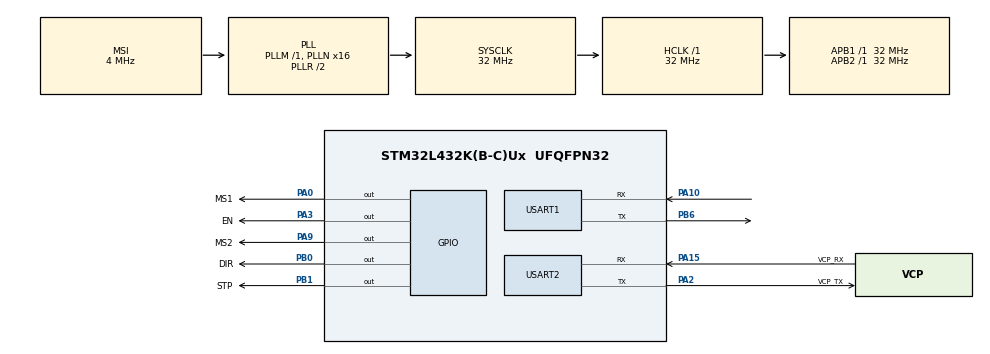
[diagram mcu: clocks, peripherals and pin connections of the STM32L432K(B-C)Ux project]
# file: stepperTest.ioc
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Mcu.Family=STM32L4
Mcu.Name=STM32L432K(B-C)Ux
Mcu.Package=UFQFPN32
NVIC.PriorityGroup=NVIC_PRIORITYGROUP_4
NVIC.TIM6_DAC_IRQn=true\:1\:0\:true\:false\:true\:true\:true\:true
NVIC.USART1_IRQn=true\:0\:0\:false\:false\:true\:true\:true\:true
NVIC.USART2_IRQn=true\:0\:0\:false\:false\:true\:true\:true\:true
PA0.GPIO_Label=MS1
PA0.Signal=GPIO_Output
PA10.Mode=Asynchronous
PA10.Signal=USART1_RX
PA13\ (JTMS-SWDIO).GPIO_Label=SWDIO
PA13\ (JTMS-SWDIO).Mode=Serial_Wire
PA13\ (JTMS-SWDIO).Signal=SYS_JTMS-SWDIO
PA14\ (JTCK-SWCLK).GPIO_Label=SWCLK
PA14\ (JTCK-SWCLK).Mode=Serial_Wire
PA14\ (JTCK-SWCLK).Signal=SYS_JTCK-SWCLK
PA15\ (JTDI).GPIO_Label=VCP_RX
PA15\ (JTDI).Mode=Asynchronous
PA15\ (JTDI).Signal=USART2_RX
PA2.GPIO_Label=VCP_TX
PA2.Mode=Asynchronous
PA2.Signal=USART2_TX
PA3.GPIO_Label=EN
PA3.Signal=GPIO_Output
PA9.GPIO_Label=MS2
PA9.Signal=GPIO_Output
PB0.GPIO_Label=DIR
PB0.Signal=GPIO_Output
PB1.GPIO_Label=STP
PB1.Signal=GPIO_Output
PB6.Mode=Asynchronous
PB6.Signal=USART1_TX
PC14-OSC32_IN\ (PC14).Signal=RCC_OSC32_IN
ProjectManager.HeapSize=0x200
ProjectManager.StackSize=0x400
ProjectManager.TargetToolchain=STM32CubeIDE
RCC.AHBFreq_Value=32000000
RCC.APB1Freq_Value=32000000
RCC.APB1TimFreq_Value=32000000
RCC.APB2Freq_Value=32000000
RCC.APB2TimFreq_Value=32000000
RCC.CortexFreq_Value=32000000
RCC.HCLKFreq_Value=32000000
RCC.HSE_VALUE=8000000
RCC.HSI16_VALUE=16000000
RCC.HSI48_VALUE=48000000
RCC.HSI_VALUE=16000000
RCC.LSE_VALUE=32768
RCC.MSI_VALUE=4000000
RCC.PLLMUL=RCC_PLLMUL_4
RCC.PLLN=16
RCC.SYSCLKFreq_VALUE=32000000
RCC.SYSCLKSource=RCC_SYSCLKSOURCE_PLLCLK
RCC.VCOOutputFreq_Value=64000000
TIM6.AutoReloadPreload=TIM_AUTORELOAD_PRELOAD_ENABLE
TIM6.Period=1
TIM6.Prescaler=32000
USART1.VirtualMode-Asynchronous=VM_ASYNC
USART2.VirtualMode-Asynchronous=VM_ASYNC
VP_TIM6_VS_ClockSourceINT.Mode=Enable_Timer
board=NUCLEO-L432KC

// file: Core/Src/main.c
/* USER CODE BEGIN Header */
/**
  ******************************************************************************
  * @file           : main.c
  * @brief          : Main program body
  ******************************************************************************
  * @attention
  *
  * Copyright (c) 2022 STMicroelectronics.
  * All rights reserved.
  *
  * This software is licensed under terms that can be found in the LICENSE file
  * in the root directory of this software component.
  * If no LICENSE file comes with this software, it is provided AS-IS.
  *
  ******************************************************************************
  */
/* USER CODE END Header */
#include "main.h"

/* USER CODE BEGIN Includes */
#include <stdbool.h>
#include <math.h>
/* USER CODE END Includes */

/* USER CODE BEGIN PD */
#define WIGGLEANGLE 500
#define BUFFERSIZE 8
#define FULLROTATION 4096
/* USER CODE END PD */

TIM_HandleTypeDef htim6;

UART_HandleTypeDef huart1;
UART_HandleTypeDef huart2;

/* USER CODE BEGIN PV */
uint32_t stepCount = 0;
uint32_t startsteps = 0;
uint16_t position = 0;
uint32_t setpos = 0;
uint32_t offset = 0;
uint32_t potipos = 0;
uint32_t charCounter = 0;
uint32_t timersteps = 0;
_Bool direction = false;
_Bool wiggleFlag = false;
_Bool startFlag = true;
_Bool setTimeFlag = false;
_Bool switchstate = false;
_Bool rxDone = false;
_Bool buttonPressed = false;
_Bool transmitDone = false;
_Bool doneOnce = false;
static _Bool receiveFlag = false;
int datapointer = 0;
/* USER CODE END PV */

void SystemClock_Config(void);
static void MX_GPIO_Init(void);
static void MX_USART2_UART_Init(void);
static void MX_TIM6_Init(void);
static void MX_USART1_UART_Init(void);

/* USER CODE BEGIN 0 */
uint8_t receiveBuffer[BUFFERSIZE];
char *receiveMsg = "\rAck   \n ";
char *notAcknowledge = "\rNAck   \n";
char *waitForInput = "\rInput: \n";
char dataBuffer[200];

typedef enum{
	  start_state,
	  set_time_state,
	  timer_state,
	  ring_state
}System_state;

System_state system_state = start_state;

void receiveUART(UART_HandleTypeDef uart, uint8_t receiveBuffer[BUFFERSIZE]){
	  HAL_UART_Receive_IT(&huart2, receiveBuffer, BUFFERSIZE);
	  HAL_UART_Receive_IT(&huart1, receiveBuffer, BUFFERSIZE);
	  	  for (;rxDone == false;){
	  		  datapointer = 0;
				if(dataBuffer[datapointer] == '#'){
					datapointer++;
				  if(dataBuffer[datapointer] ==  'p'){
					  datapointer++;
					  for(; dataBuffer[datapointer] != ','; datapointer++);
					  sscanf(dataBuffer+1+datapointer, "%d\n", &potipos);
					  buttonPressed = true;
					  rxDone = true;
					  }

				}
	  	  }

	  	  for(datapointer = 0; dataBuffer[datapointer] != 0; datapointer++){
	  		  dataBuffer[datapointer] = 0;
	  	  }
}
/* USER CODE END 0 */

int main(void)
{
  /* USER CODE BEGIN 1 */
	char uart_buf[50];
	int uart_buf_len = 0;

  /* USER CODE END 1 */

  /* MCU Configuration--------------------------------------------------------*/

  /* Reset of all peripherals, Initializes the Flash interface and the Systick. */
  HAL_Init();

  /* Configure the system clock */
  SystemClock_Config();

  /* Initialize all configured peripherals */
  MX_GPIO_Init();
  MX_USART2_UART_Init();
  MX_TIM6_Init();
  MX_USART1_UART_Init();
  /* USER CODE BEGIN 2 */
  HAL_GPIO_WritePin(MS1_GPIO_Port, MS1_Pin, GPIO_PIN_RESET);
  HAL_GPIO_WritePin(MS2_GPIO_Port, MS2_Pin, GPIO_PIN_RESET);
  HAL_GPIO_WritePin(DIR_GPIO_Port, DIR_Pin, GPIO_PIN_SET);
  HAL_TIM_Base_Start_IT(&htim6);

  /* USER CODE END 2 */

  /* Infinite loop */
  /* USER CODE BEGIN WHILE */

  while (1)
  {
	  switch(system_state) { //State machine wechselt zwischen den verschiedenen zuständen die das System einnehmen kann

	  	  case set_time_state:{ //State um die Zeit einzustellen
	  		setTimeFlag = true;

	  		if(!receiveFlag){
	  			HAL_UART_Transmit_IT(&huart2, (uint8_t*)waitForInput, BUFFERSIZE);
	  			receiveUART(huart2, receiveBuffer);
	  			receiveFlag = true;
	  		}

	  		if(buttonPressed){
	  			float temp = potipos;
	  			setpos = (int) 4096 * (temp / 100);
	  			HAL_NVIC_EnableIRQ(54);
	  			buttonPressed = false;
	  		}

	  		if(switchstate){ //Motor hat sich zu der gewünschten Position bewegt
	  			system_state = timer_state;
	  			receiveFlag = false;
	  			switchstate = false;
	  			doneOnce = false;

	  		}
	  	  }break;

	  	  case timer_state:{ //state während die Zeit abläuft

	  		HAL_GPIO_WritePin(MS1_GPIO_Port, MS1_Pin, GPIO_PIN_SET);
	  		HAL_GPIO_WritePin(MS2_GPIO_Port, MS2_Pin, GPIO_PIN_SET);

	  		if (!doneOnce){ //enabled beim ersten durchlauf wieder den Interrupt, damit sich der Motor bewegt
	  			HAL_NVIC_EnableIRQ(54);
	  			doneOnce = true;
	  		}

			  if(switchstate){ //bereitet die Variablen für den nächsten state vor
				   system_state = ring_state;
				   receiveFlag = false;
				   switchstate = false;
				   rxDone = false;
				   stepCount = 0;

			  }
	  	  }break;

	  	  case ring_state:{ //state während dem klingeln
	  		  wiggleFlag = true;
	  		  HAL_GPIO_WritePin(MS1_GPIO_Port, MS1_Pin, GPIO_PIN_RESET); //wechselt Geschwindigkeit
	  		  HAL_GPIO_WritePin(MS2_GPIO_Port, MS2_Pin, GPIO_PIN_RESET);

	  		  if(!receiveFlag){
	  			  HAL_UART_Transmit_IT(&huart2, (uint8_t*)waitForInput, BUFFERSIZE);
	  			  receiveUART(huart2, receiveBuffer);
	  			  receiveFlag = true;
	  		  }

	  		  if(buttonPressed){//bereitet die Variablen für den nächsten state vor
	  			  system_state = set_time_state;
	  			  receiveFlag = false;
	  			  buttonPressed = false;
	  			  rxDone = false;
	  			  //HAL_NVIC_EnableIRQ(54);
	  		  }
	  	  }break;

	  	  case start_state:{ //start state, zeigt wenn bereit

	  		  startFlag = true;

	  		  if(switchstate){//bereitet die Variablen für den nächsten state vor
	  			  system_state = set_time_state;
	  			  switchstate = false;
	  		  }
	  	  }break;

	  	  default:{
	  		  system_state = start_state;
	  		  break;
	  	  }
	  }
    /* USER CODE END WHILE */

}
}

void SystemClock_Config(void)
{
  RCC_OscInitTypeDef RCC_OscInitStruct = {0};
  RCC_ClkInitTypeDef RCC_ClkInitStruct = {0};

  /** Configure the main internal regulator output voltage
  */
  if (HAL_PWREx_ControlVoltageScaling(PWR_REGULATOR_VOLTAGE_SCALE1) != HAL_OK)
  {
    Error_Handler();
  }

  /** Initializes the RCC Oscillators according to the specified parameters
  * in the RCC_OscInitTypeDef structure.
  */
  RCC_OscInitStruct.OscillatorType = RCC_OSCILLATORTYPE_MSI;
  RCC_OscInitStruct.MSIState = RCC_MSI_ON;
  RCC_OscInitStruct.MSICalibrationValue = 0;
  RCC_OscInitStruct.MSIClockRange = RCC_MSIRANGE_6;
  RCC_OscInitStruct.PLL.PLLState = RCC_PLL_ON;
  RCC_OscInitStruct.PLL.PLLSource = RCC_PLLSOURCE_MSI;
  RCC_OscInitStruct.PLL.PLLM = 1;
  RCC_OscInitStruct.PLL.PLLN = 16;
  RCC_OscInitStruct.PLL.PLLP = RCC_PLLP_DIV7;
  RCC_OscInitStruct.PLL.PLLQ = RCC_PLLQ_DIV2;
  RCC_OscInitStruct.PLL.PLLR = RCC_PLLR_DIV2;
  if (HAL_RCC_OscConfig(&RCC_OscInitStruct) != HAL_OK)
  {
    Error_Handler();
  }

  /** Initializes the CPU, AHB and APB buses clocks
  */
  RCC_ClkInitStruct.ClockType = RCC_CLOCKTYPE_HCLK|RCC_CLOCKTYPE_SYSCLK
                              |RCC_CLOCKTYPE_PCLK1|RCC_CLOCKTYPE_PCLK2;
  RCC_ClkInitStruct.SYSCLKSource = RCC_SYSCLKSOURCE_PLLCLK;
  RCC_ClkInitStruct.AHBCLKDivider = RCC_SYSCLK_DIV1;
  RCC_ClkInitStruct.APB1CLKDivider = RCC_HCLK_DIV1;
  RCC_ClkInitStruct.APB2CLKDivider = RCC_HCLK_DIV1;

  if (HAL_RCC_ClockConfig(&RCC_ClkInitStruct, FLASH_LATENCY_1) != HAL_OK)
  {
    Error_Handler();
  }
}

static void MX_TIM6_Init(void)
{

  TIM_MasterConfigTypeDef sMasterConfig = {0};

  htim6.Instance = TIM6;
  htim6.Init.Prescaler = 32000;
  htim6.Init.CounterMode = TIM_COUNTERMODE_UP;
  htim6.Init.Period = 1;
  htim6.Init.AutoReloadPreload = TIM_AUTORELOAD_PRELOAD_ENABLE;
  if (HAL_TIM_Base_Init(&htim6) != HAL_OK)
  {
    Error_Handler();
  }
  sMasterConfig.MasterOutputTrigger = TIM_TRGO_RESET;
  sMasterConfig.MasterSlaveMode = TIM_MASTERSLAVEMODE_DISABLE;
  if (HAL_TIMEx_MasterConfigSynchronization(&htim6, &sMasterConfig) != HAL_OK)
  {
    Error_Handler();
  }

}

static void MX_USART1_UART_Init(void)
{

  huart1.Instance = USART1;
  huart1.Init.BaudRate = 115200;
  huart1.Init.WordLength = UART_WORDLENGTH_8B;
  huart1.Init.StopBits = UART_STOPBITS_1;
  huart1.Init.Parity = UART_PARITY_NONE;
  huart1.Init.Mode = UART_MODE_TX_RX;
  huart1.Init.HwFlowCtl = UART_HWCONTROL_NONE;
  huart1.Init.OverSampling = UART_OVERSAMPLING_16;
  huart1.Init.OneBitSampling = UART_ONE_BIT_SAMPLE_DISABLE;
  huart1.AdvancedInit.AdvFeatureInit = UART_ADVFEATURE_NO_INIT;
  if (HAL_UART_Init(&huart1) != HAL_OK)
  {
    Error_Handler();
  }

}

static void MX_USART2_UART_Init(void)
{

  huart2.Instance = USART2;
  huart2.Init.BaudRate = 115200;
  huart2.Init.WordLength = UART_WORDLENGTH_8B;
  huart2.Init.StopBits = UART_STOPBITS_1;
  huart2.Init.Parity = UART_PARITY_NONE;
  huart2.Init.Mode = UART_MODE_TX_RX;
  huart2.Init.HwFlowCtl = UART_HWCONTROL_NONE;
  huart2.Init.OverSampling = UART_OVERSAMPLING_16;
  huart2.Init.OneBitSampling = UART_ONE_BIT_SAMPLE_DISABLE;
  huart2.AdvancedInit.AdvFeatureInit = UART_ADVFEATURE_NO_INIT;
  if (HAL_UART_Init(&huart2) != HAL_OK)
  {
    Error_Handler();
  }

}

static void MX_GPIO_Init(void)
{
  GPIO_InitTypeDef GPIO_InitStruct = {0};

  /* GPIO Ports Clock Enable */
  __HAL_RCC_GPIOC_CLK_ENABLE();
  __HAL_RCC_GPIOA_CLK_ENABLE();
  __HAL_RCC_GPIOB_CLK_ENABLE();

  /*Configure GPIO pin Output Level */
  HAL_GPIO_WritePin(GPIOA, MS1_Pin|EN_Pin|MS2_Pin, GPIO_PIN_RESET);

  /*Configure GPIO pin Output Level */
  HAL_GPIO_WritePin(GPIOB, DIR_Pin|STP_Pin, GPIO_PIN_RESET);

  /*Configure GPIO pins : MS1_Pin EN_Pin MS2_Pin */
  GPIO_InitStruct.Pin = MS1_Pin|EN_Pin|MS2_Pin;
  GPIO_InitStruct.Mode = GPIO_MODE_OUTPUT_PP;
  GPIO_InitStruct.Pull = GPIO_NOPULL;
  GPIO_InitStruct.Speed = GPIO_SPEED_FREQ_LOW;
  HAL_GPIO_Init(GPIOA, &GPIO_InitStruct);

  /*Configure GPIO pins : DIR_Pin STP_Pin */
  GPIO_InitStruct.Pin = DIR_Pin|STP_Pin;
  GPIO_InitStruct.Mode = GPIO_MODE_OUTPUT_PP;
  GPIO_InitStruct.Pull = GPIO_NOPULL;
  GPIO_InitStruct.Speed = GPIO_SPEED_FREQ_LOW;
  HAL_GPIO_Init(GPIOB, &GPIO_InitStruct);

}

/* USER CODE BEGIN 4 */
void HAL_TIM_PeriodElapsedCallback(TIM_HandleTypeDef *htim){
	HAL_GPIO_TogglePin(STP_GPIO_Port, STP_Pin);

	switch(system_state){
		case set_time_state:{
			if (position < setpos){ //richtige Richtung einstellen um zur gewünschten Position zu fahren
				HAL_GPIO_WritePin(DIR_GPIO_Port, DIR_Pin, RESET);
				direction = false;
			} else {
				HAL_GPIO_WritePin(DIR_GPIO_Port, DIR_Pin, SET);
				direction = true;
			}
			if(position == setpos){ //wenn die gewünschte Position erreicht wurde
				HAL_NVIC_DisableIRQ(54);
				switchstate = true;
			}
			break;
		}
		case timer_state:{
			if(direction == false){ //change direction
				HAL_GPIO_WritePin(DIR_GPIO_Port, DIR_Pin, SET);
				direction = true;
			}
			if(position == 0){ //Zeit abgelaufen
				//HAL_NVIC_DisableIRQ(54);
				switchstate = true;
				HAL_GPIO_WritePin(DIR_GPIO_Port, DIR_Pin, RESET); //prepare direction for ring_state
				direction = false;

			}
			break;
		}
		case ring_state:{
			stepCount++;
			if (stepCount%WIGGLEANGLE == 0){ //Wenn es sich um den Winkel bewegt hat
				stepCount = stepCount % WIGGLEANGLE;
				//HAL_GPIO_TogglePin(DIR_GPIO_Port, DIR_Pin);
				if(direction == false){ //Richtung wechseln wenn Winkel richtig
					HAL_GPIO_WritePin(DIR_GPIO_Port, DIR_Pin, SET);
					direction = true;
				}else{
					HAL_GPIO_WritePin(DIR_GPIO_Port, DIR_Pin, RESET);
					direction = false;
				}
			}
			break;
		}
		case start_state:{
			startsteps++;
			if(startsteps < WIGGLEANGLE * 2){//einmal klingeln
				if(startsteps <= WIGGLEANGLE){
					HAL_GPIO_WritePin(DIR_GPIO_Port, DIR_Pin, RESET);
					direction = false;
				} else if (startsteps > WIGGLEANGLE) {
					HAL_GPIO_WritePin(DIR_GPIO_Port, DIR_Pin, SET);
					direction = true;
				}
			}else{
				HAL_NVIC_DisableIRQ(54);//Motor stoppen
				switchstate = true;
			}
			break;
		}
	}

	if(direction == false){ //false entspricht einer Drehung laut Uhrzeigersinn und Position ++
		//position++;

		if(system_state == timer_state){
			timersteps++;
			if(timersteps%8 == 0){
				timersteps = 0;
				position++;
			}
		}else{
			position++;
		}
		position = position % FULLROTATION;
	}else { //andere Richtung entspricht position--
		if(system_state == timer_state){
			timersteps++;
			if(timersteps%8 == 0){
				timersteps = 0;
				position--;
			}
		}else{
			position--;
		}

		position = position % FULLROTATION;
	}

	//if(stepCount == 2048*2){		Function to measure steps
		//HAL_NVIC_DisableIRQ(54);
	//}*/
}

void HAL_UART_RxCpltCallback(UART_HandleTypeDef *huart){
	for(uint8_t i = 0; i <= 7; i++){ //Kopiert alles aus dem UART buffer in mein Databuffer
		dataBuffer[i] = receiveBuffer[i];
		if(receiveBuffer[i] == '\r'){
			rxDone = false;
			charCounter = i;
		}
	}

	HAL_UART_Transmit_IT(&huart2, (uint8_t *)receiveMsg, BUFFERSIZE); //schickt Acknowledge
	HAL_NVIC_DisableIRQ(54);

}

void HAL_UART_TxCpltCallback(UART_HandleTypeDef *huart){
	transmitDone = true;
}

/* USER CODE END 4 */

void Error_Handler(void)
{
  __disable_irq();
  while (1)
  {
  }
}
